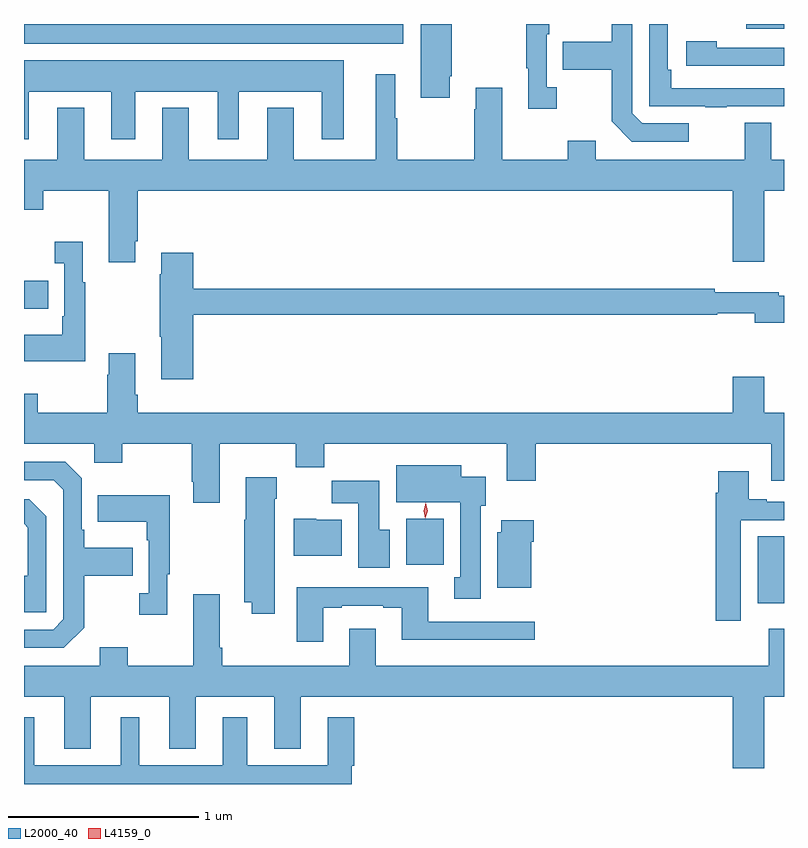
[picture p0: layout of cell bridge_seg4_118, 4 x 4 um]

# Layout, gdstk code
import gdstk
lib = gdstk.Library(unit=1e-6, precision=1e-09)
def R(c, l, rs):  # rectangles x0, y0, x1, y1
    for r in rs: c.add(gdstk.rectangle(r[:2], r[2:], *l))
def P(c, l, *ps):  # polygons
    for p in ps: c.add(gdstk.Polygon(p, *l))
L2000_40 = (2000, 40)
L4159_0 = (4159, 0)

bridge_seg4_118 = lib.new_cell('bridge_seg4_118')
R(bridge_seg4_118, L2000_40, [(273.032,781.329,273.169,781.682), (271.181,781.532,271.378,781.774), (269.169,782.879,269.297,783.027), (269.169,784.274,271.165,784.378), (272.971,784.353,273.169,784.378)])
P(bridge_seg4_118, L2000_40, [(271.972,784.046),(271.92,784.046),(271.92,784.325),(271.933,784.325),(271.933,784.378),(271.812,784.378),(271.812,784.145),(271.823,784.145),(271.823,783.933),(271.972,783.933)],
  [(272.867,783.945),(273.169,783.945),(273.169,784.041),(272.576,784.041),(272.576,784.138),(272.556,784.138),(272.556,784.378),(272.46,784.378),(272.46,783.945),(272.755,783.945),(272.755,783.94),(272.867,783.94)],
  [(272.668,783.855),(272.424,783.855),(272.37,783.909),(272.37,784.378),(272.262,784.378),(272.262,784.285),(272.005,784.285),(272.005,784.138),(272.262,784.138),(272.262,783.865),(272.367,783.759),(272.668,783.759)],
  [(271.411,784.102),(271.419,784.102),(271.419,784.378),(271.256,784.378),(271.256,783.99),(271.411,783.99)],
  [(273.169,784.254),(272.816,784.254),(272.816,784.288),(272.655,784.288),(272.655,784.158),(273.169,784.158)],
  [(269.194,784.022),(269.627,784.022),(269.627,783.771),(269.755,783.771),(269.755,784.022),(270.188,784.022),(270.188,783.771),(270.298,783.771),(270.298,784.022),(270.737,784.022),(270.737,783.771),(270.853,783.771),(270.853,784.186),(269.169,784.186),(269.169,783.771),(269.194,783.771)],
  [(269.755,783.235),(269.768,783.235),(269.768,783.5),(272.9,783.5),(272.9,783.126),(273.064,783.126),(273.064,783.5),(273.169,783.5),(273.169,783.664),(273.103,783.664),(273.103,783.859),(272.963,783.859),(272.963,783.664),(272.179,783.664),(272.179,783.763),(272.032,783.763),(272.032,783.664),(271.687,783.664),(271.687,784.042),(271.547,784.042),(271.547,783.929),(271.54,783.929),(271.54,783.664),(271.133,783.664),(271.133,783.881),(271.123,783.881),(271.123,784.114),(271.019,784.114),(271.019,783.664),(270.589,783.664),(270.589,783.937),(270.449,783.937),(270.449,783.664),(270.037,783.664),(270.037,783.937),(269.897,783.937),(269.897,783.664),(269.485,783.664),(269.485,783.937),(269.345,783.937),(269.345,783.664),(269.169,783.664),(269.169,783.401),(269.271,783.401),(269.271,783.5),(269.615,783.5),(269.615,783.123),(269.755,783.123)],
  [(269.491,783.019),(269.479,783.019),(269.479,783.232),(269.331,783.232),(269.331,783.119),(269.382,783.119),(269.382,782.839),(269.37,782.839),(269.37,782.743),(269.169,782.743),(269.169,782.603),(269.491,782.603)],
  [(270.059,782.848),(272.818,782.848),(272.818,782.856),(273.014,782.856),(273.014,782.806),(273.169,782.806),(273.169,782.948),(273.142,782.948),(273.142,782.965),(272.804,782.965),(272.804,782.984),(270.059,782.984),(270.059,783.175),(269.891,783.175),(269.891,783.062),(269.884,783.062),(269.884,782.731),(269.891,782.731),(269.891,782.508),(270.059,782.508)],
  [(270.199,782.168),(270.598,782.168),(270.598,782.044),(270.749,782.044),(270.749,782.168),(271.709,782.168),(271.709,781.974),(271.862,781.974),(271.862,782.168),(273.101,782.168),(273.101,781.974),(273.169,781.974),(273.169,782.332),(273.064,782.332),(273.064,782.521),(272.9,782.521),(272.9,782.332),(269.768,782.332),(269.768,782.428),(269.755,782.428),(269.755,782.644),(269.615,782.644),(269.615,782.531),(269.608,782.531),(269.608,782.332),(269.241,782.332),(269.241,782.431),(269.169,782.431),(269.169,782.168),(269.538,782.168),(269.538,782.069),(269.685,782.069),(269.685,782.168),(270.052,782.168),(270.052,781.969),(270.059,781.969),(270.059,781.857),(270.199,781.857)],
  [(269.485,781.201),(269.485,781.474),(269.741,781.474),(269.741,781.621),(269.485,781.621),(269.485,781.717),(269.472,781.717),(269.472,781.986),(269.385,782.073),(269.169,782.073),(269.169,781.977),(269.325,781.977),(269.376,781.926),(269.376,781.245),(269.322,781.191),(269.169,781.191),(269.169,781.095),(269.379,781.095)],
  [(271.573,781.842),(271.6,781.842),(271.6,781.996),(271.471,781.996),(271.471,782.056),(271.127,782.056),(271.127,781.862),(271.466,781.862),(271.466,781.466),(271.433,781.466),(271.433,781.353),(271.573,781.353)],
  [(272.941,781.767),(273.169,781.767),(273.169,781.863),(273.079,781.863),(273.079,781.876),(272.983,781.876),(272.983,782.023),(272.822,782.023),(272.822,781.91),(272.81,781.91),(272.81,781.236),(272.941,781.236)],
  [(270.49,781.88),(270.498,781.88),(270.498,781.993),(270.335,781.993),(270.335,781.769),(270.328,781.769),(270.328,781.334),(270.368,781.334),(270.368,781.275),(270.49,781.275)],
  [(271.093,781.716),(271.039,781.716),(271.039,781.974),(270.79,781.974),(270.79,781.856),(270.929,781.856),(270.929,781.515),(271.093,781.515)],
  [(269.923,781.481),(269.935,781.481),(269.935,781.897),(269.557,781.897),(269.557,781.757),(269.814,781.757),(269.814,781.661),(269.826,781.661),(269.826,781.382),(269.775,781.382),(269.775,781.269),(269.923,781.269)],
  [(269.286,781.788),(269.196,781.878),(269.169,781.878),(269.169,781.749),(269.19,781.728),(269.19,781.474),(269.17,781.474),(269.17,781.377),(269.169,781.377),(269.169,781.281),(269.286,781.281)],
  [(270.841,781.768),(270.708,781.768),(270.708,781.774),(270.59,781.774),(270.59,781.58),(270.841,781.58)],
  [(271.84,781.652),(271.853,781.652),(271.853,781.765),(271.682,781.765),(271.682,781.704),(271.661,781.704),(271.661,781.412),(271.84,781.412)],
  [(270.745,781.305),(270.841,781.305),(270.841,781.317),(271.061,781.317),(271.061,781.305),(271.157,781.305),(271.157,781.136),(271.858,781.136),(271.858,781.233),(271.297,781.233),(271.297,781.413),(270.833,781.413),(270.833,781.414),(270.605,781.414),(270.605,781.128),(270.745,781.128)],
  [(273.064,780.836),(273.169,780.836),(273.169,781.195),(273.089,781.195),(273.089,781),(271.021,781),(271.021,781.195),(270.881,781.195),(270.881,781),(270.212,781),(270.212,781.096),(270.199,781.096),(270.199,781.378),(270.059,781.378),(270.059,781),(269.715,781),(269.715,781.099),(269.567,781.099),(269.567,781),(269.169,781),(269.169,780.836),(269.381,780.836),(269.381,780.563),(269.521,780.563),(269.521,780.836),(269.933,780.836),(269.933,780.563),(270.073,780.563),(270.073,780.836),(270.485,780.836),(270.485,780.563),(270.625,780.563),(270.625,780.836),(272.9,780.836),(272.9,780.462),(273.064,780.462)],
  [(270.895,780.474),(270.908,780.474),(270.908,780.73),(270.767,780.73),(270.767,780.478),(270.343,780.478),(270.343,780.73),(270.215,780.73),(270.215,780.478),(269.776,780.478),(269.776,780.73),(269.678,780.73),(269.678,780.478),(269.224,780.478),(269.224,780.73),(269.169,780.73),(269.169,780.378),(270.895,780.378)])
P(bridge_seg4_118, L4159_0, [(271.282,781.776),(271.282,781.776),(271.273,781.817),(271.283,781.858),(271.283,781.858),(271.284,781.858),(271.293,781.817),(271.282,781.776)])

lib.write_gds('bridge_seg4_118.gds')
